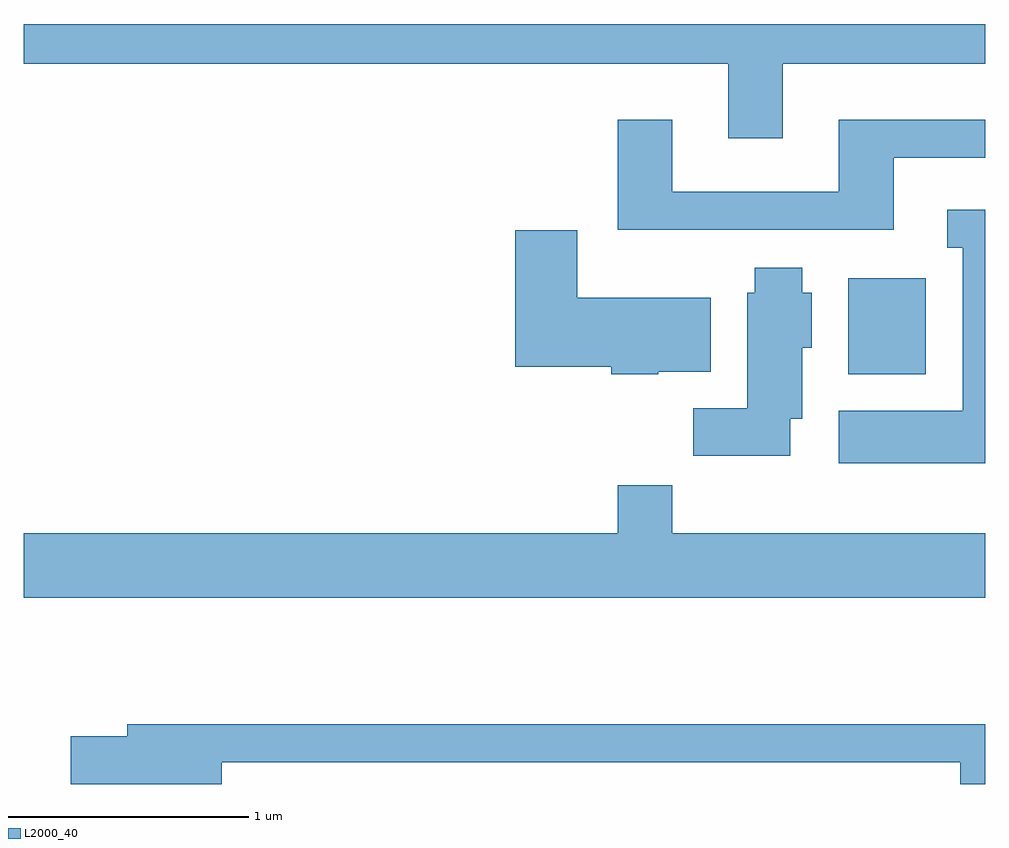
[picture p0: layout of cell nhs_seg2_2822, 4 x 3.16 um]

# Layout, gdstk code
import gdstk
lib = gdstk.Library(unit=1e-6, precision=1e-09)
def R(c, l, rs):  # rectangles x0, y0, x1, y1
    for r in rs: c.add(gdstk.rectangle(r[:2], r[2:], *l))
def P(c, l, *ps):  # polygons
    for p in ps: c.add(gdstk.Polygon(p, *l))
L2000_40 = (2000, 40)

nhs_seg2_2822 = lib.new_cell('nhs_seg2_2822')
R(nhs_seg2_2822, L2000_40, [(271.041,1060.346,271.364,1060.744)])
P(nhs_seg2_2822, L2000_40, [(270.769,1061.636),(271.611,1061.636),(271.611,1061.802),(267.611,1061.802),(267.611,1061.636),(270.541,1061.636),(270.541,1061.326),(270.769,1061.326)],
  [(271.229,1061.246),(271.611,1061.246),(271.611,1061.404),(271.001,1061.404),(271.001,1061.104),(270.309,1061.104),(270.309,1061.404),(270.081,1061.404),(270.081,1060.946),(271.229,1060.946)],
  [(271.611,1061.029),(271.453,1061.029),(271.453,1060.871),(271.516,1060.871),(271.516,1060.194),(271.001,1060.194),(271.001,1059.976),(271.611,1059.976)],
  [(270.25,1060.356),(270.469,1060.356),(270.469,1060.664),(269.914,1060.664),(269.914,1060.944),(269.656,1060.944),(269.656,1060.376),(270.056,1060.376),(270.056,1060.346),(270.25,1060.346)],
  [(270.799,1060.161),(270.849,1060.161),(270.849,1060.456),(270.889,1060.456),(270.889,1060.684),(270.849,1060.684),(270.849,1060.789),(270.651,1060.789),(270.651,1060.684),(270.621,1060.684),(270.621,1060.204),(270.396,1060.204),(270.396,1060.006),(270.799,1060.006)],
  [(271.611,1059.684),(270.309,1059.684),(270.309,1059.884),(270.081,1059.884),(270.081,1059.684),(267.611,1059.684),(267.611,1059.416),(271.611,1059.416)],
  [(268.434,1058.731),(271.506,1058.731),(271.506,1058.641),(271.611,1058.641),(271.611,1058.889),(268.041,1058.889),(268.041,1058.839),(267.806,1058.839),(267.806,1058.641),(268.434,1058.641)])

lib.write_gds('nhs_seg2_2822.gds')
